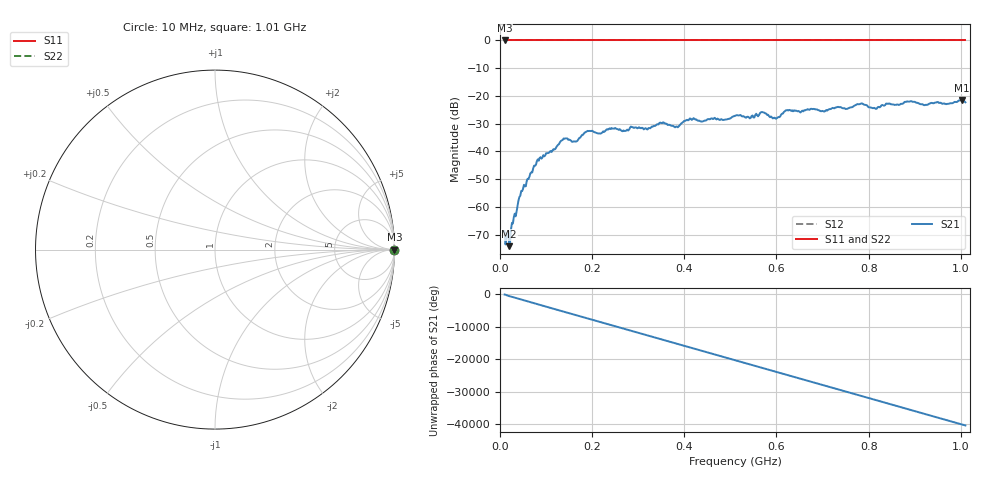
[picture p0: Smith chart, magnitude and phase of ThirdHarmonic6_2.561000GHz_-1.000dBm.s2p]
! 8/17/2025 5:18:03 AM
! C:\ANRITSUVNA\TEMP\TEMP.S2P
! CHANNEL.1
! TR.MEASUREMENT
! RAW.DATA
! RF.CORRECTION.OFF
! AVERAGING.OFF
! IF.BANDWIDTH: 5KHZ
! SWEEPTYPE:  FREQ.SWEEP(Linear)
! Reference Plane Port Info
! PORT:  PORT1  PORT2
! DISTANCE:  0  m  0  m
! TIME:  0  s  0  s
! PHASE.OFFSET:  0  deg.  0  deg.
! LOSS:  0  dB  0  dB
! REF.LOSS:  0  dB  0  dB
! REF.FREQ:  0  Hz  0  Hz
! Power Info
! POWER:  -20  dBm  -20  dBm
! EFF.POWER:  -20  dBm  -20  dBm
! SOURCE.ATTEN:  0  dB  0  dB
! TEST.ATTEN:  0  dB  0  dB
# GHZ S RI R 50.0
! FREQ.GHZ  S11RE  S11IM  S21RE  S21IM  S12RE  S12IM  S22RE  S22IM
!; PortSelection: Port_12
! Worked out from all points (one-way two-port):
!   501 points, 10 MHz to 1.01 GHz, reference 50 ohm
!   highest |S21| = -21.48 dB at 1.002 GHz (marker M1); lowest = -74.2 dB at 20 MHz (marker M2)
!   lowest |S11| = 0.0 dB at 10 MHz (marker M3)
!   |S11| at or under -10 dB: nowhere
!   |S22| runs from 0.0 to 0.0 dB; largest |S21 - S12| = 1.1
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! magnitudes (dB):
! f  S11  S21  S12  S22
! 10 MHz  0.0  -68.8  0.0  0.0
! 20 MHz  0.0  -74.2  0.0  0.0
! 44 MHz  0.0  -56.0  0.0  0.0
! 84 MHz  0.0  -43.4  0.0  0.0
! 138 MHz  0.0  -35.4  0.0  0.0
! 162 MHz  0.0  -36.4  0.0  0.0
! 178 MHz  0.0  -34.1  0.0  0.0
! 192 MHz  0.0  -32.7  0.0  0.0
! 316 MHz  0.0  -31.6  0.0  0.0
! 344 MHz  0.0  -30.3  0.0  0.0
! 382 MHz  0.0  -31.1  0.0  0.0
! 410 MHz  0.0  -28.6  0.0  0.0
! 510 MHz  0.0  -27.2  0.0  0.0
! 570 MHz  0.0  -25.8  0.0  0.0
! 596 MHz  0.0  -27.9  0.0  0.0
! 624 MHz  0.0  -25.1  0.0  0.0
! 678 MHz  0.0  -24.8  0.0  0.0
! 784 MHz  0.0  -22.7  0.0  0.0
! 814 MHz  0.0  -24.5  0.0  0.0
! 844 MHz  0.0  -22.8  0.0  0.0
! 1.002 GHz  0.0  -21.5  0.0  0.0
! 1.01 GHz  0.0  -22.3  0.0  0.0
